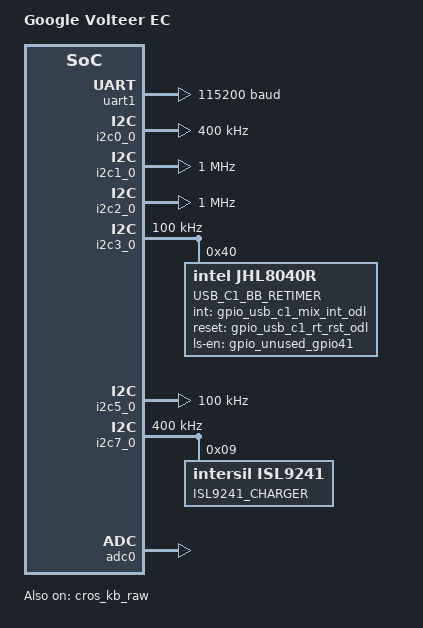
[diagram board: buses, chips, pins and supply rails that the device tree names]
/*
 * Copyright (c) 2020 The Chromium OS Authors
 *
 * SPDX-License-Identifier: Apache-2.0
 */

/dts-v1/;

#include <cros/nuvoton/npcx.dtsi>
#include <dt-bindings/gpio_defines.h>
#include <dt-bindings/charger/intersil_isl9241.h>
#include <nuvoton/npcx7m6fb.dtsi>

/ {
	model = "Google Volteer EC";

	aliases {
		i2c-0 = &i2c0_0;
		i2c-1 = &i2c1_0;
		i2c-2 = &i2c2_0;
		i2c-3 = &i2c3_0;
		i2c-5 = &i2c5_0;
		i2c-7 = &i2c7_0;
	};

	chosen {
		zephyr,sram = &sram0;
		zephyr,console = &uart1;
		zephyr,shell-uart = &uart1;
		zephyr,flash = &flash0;
		cros,rtc = &mtc;
	};

	ec-console {
		compatible = "ec-console";

		disabled = "hostcmd";
	};

	named-batteries {
		compatible = "named-batteries";

		lgc011 {
			enum-name = "lgc011";
		};
	};

	named-i2c-ports {
		compatible = "named-i2c-ports";

		i2c_sensor: sensor {
			i2c-port = <&i2c0_0>;
			label = "SENSOR";
		};
		usb-c0 {
			i2c-port = <&i2c1_0>;
			label = "USB_C0";
		};
		usb-c1 {
			i2c-port = <&i2c2_0>;
			label = "USB_C1";
		};
		usb1-mix {
			i2c-port = <&i2c3_0>;
			label = "USB_1_MIX";
		};
		power {
			i2c-port = <&i2c5_0>;
			label = "POWER";
		};
		eeprom {
			i2c-port = <&i2c7_0>;
			label = "EEPROM";
		};
	};

	named-adc-channels {
		compatible = "named-adc-channels";

		adc_charger: charger {
			label = "ADC_TEMP_SENSOR_CHARGER";
			channel = <0>;
		};
		adc_pp3300_regulator: pp3300_regulator {
			label = "ADC_TEMP_SENSOR_PP3300_REGULATOR";
			channel = <1>;
		};
		adc_ddr_soc: ddr_soc {
			label = "ADC_TEMP_SENSOR_DDR_SOC";
			channel = <8>;
		};
		adc_fan: fan {
			label = "ADC_TEMP_SENSOR_FAN";
			channel = <3>;
		};
	};

	named-temp-sensors {
		charger {
			compatible = "temp-3v3-30k9-47k-4050b";
			label = "TEMP_SENSOR_CHARGER";
			temp_fan_off = <40>;
			temp_fan_max = <55>;
			temp_host_high = <75>;
			temp_host_halt = <80>;
			temp_host_release_high = <65>;
			adc = <&adc_charger>;
		};
		pp3300_regulator {
			compatible = "temp-3v3-30k9-47k-4050b";
			label = "TEMP_SENSOR_PP3300_REGULATOR";
			temp_fan_off = <40>;
			temp_fan_max = <55>;
			temp_host_high = <75>;
			temp_host_halt = <80>;
			temp_host_release_high = <65>;
			adc = <&adc_pp3300_regulator>;
		};
		ddr_soc {
			compatible = "temp-3v3-30k9-47k-4050b";
			label = "TEMP_SENSOR_DDR_SOC";
			temp_fan_off = <35>;
			temp_fan_max = <50>;
			temp_host_high = <70>;
			temp_host_halt = <80>;
			temp_host_release_high = <65>;
			adc = <&adc_ddr_soc>;
		};
		fan {
			compatible = "temp-3v3-30k9-47k-4050b";
			label = "TEMP_SENSOR_FAN";
			temp_fan_off = <35>;
			temp_fan_max = <50>;
			temp_host_high = <70>;
			temp_host_halt = <80>;
			temp_host_release_high = <65>;
			adc = <&adc_fan>;
		};
	};

	soc {
		cros_kb_raw: cros-kb-raw@400a3000 {
			compatible = "nuvoton,npcx-cros-kb-raw";
			reg = <0x400a3000 0x2000>;
			label = "CROS_KB_RAW_0";
			interrupts = <49 0>;
			clocks = <&pcc NPCX_CLOCK_BUS_APB1 NPCX_PWDWN_CTL1 0>;
			/* No KSO2 (it's inverted and implemented by GPIO.) */
			pinctrl-0 = <&alt7_no_ksi0_sl /* KSI0 PIN31 */
				     &alt7_no_ksi1_sl /* KSI1 PIN30 */
				     &alt7_no_ksi2_sl /* KSI2 PIN27 */
				     &alt7_no_ksi3_sl /* KSI3 PIN26 */
				     &alt7_no_ksi4_sl /* KSI4 PIN25 */
				     &alt7_no_ksi5_sl /* KSI5 PIN24 */
				     &alt7_no_ksi6_sl /* KSI6 PIN23 */
				     &alt7_no_ksi7_sl /* KSI7 PIN22 */
				     &alt8_no_kso00_sl /* KSO00 PIN21 */
				     &alt8_no_kso01_sl /* KSO01 PIN20 */
				     &alt8_no_kso03_sl /* KSO03 PIN16 */
				     &alt8_no_kso04_sl /* KSO04 PIN15 */
				     &alt8_no_kso05_sl /* KSO05 PIN14 */
				     &alt8_no_kso06_sl /* KSO06 PIN13 */
				     &alt8_no_kso07_sl /* KSO07 PIN12 */
				     &alt9_no_kso08_sl /* KSO08 PIN11 */
				     &alt9_no_kso09_sl /* KSO09 PIN10 */
				     &alt9_no_kso10_sl /* KSO10 PIN07 */
				     &alt9_no_kso11_sl /* KSO11 PIN06 */
				     &alt9_no_kso12_sl /* KSO12 PIN05 */
				     &alt9_no_kso13_sl /* KSO13 PIN04 */
				     &alt9_no_kso14_sl /* KSO14 PIN82 */
				     >;
			wui_maps = <&wui_io31 &wui_io30 &wui_io27 &wui_io26
				    &wui_io25 &wui_io24 &wui_io23 &wui_io22>;
			status = "disabled";
		};

		fiu0: cros-flash@40020000 {
			compatible = "nuvoton,npcx-cros-flash";
			reg = <0x40020000 0x2000>;
			clocks = <&pcc NPCX_CLOCK_BUS_APB3 NPCX_PWDWN_CTL1 2>;
			size = <0x80000>;
			label = "FLASH_INTERFACE_UNIT0";
			pinctrl-0 = <>;
		};
	};

	/*
	 * The NPCX loader copies our image from ROM to code RAM, so the flash
	 * node actually represents the code RAM location and size.
	 * Override the code RAM for the NPCX797FC.
	 */
	/delete-node/ flash@10090000;
	flash0: flash@10070000 {
		reg = <0x10070000 0x40000>;
	};
};

&uart1 {
	status = "okay";
	current-speed = <115200>;
	pinctrl-0 = <&altc_uart1_sl2>; /* Use UART1_SL2 ie. PIN64.65 */
};

&i2c0_0 {
	status = "okay";
	clock-frequency = <I2C_BITRATE_FAST>;
};

&i2c1_0 {
	status = "okay";
	clock-frequency = <I2C_BITRATE_FAST_PLUS>;
};

&i2c2_0 {
	status = "okay";
	clock-frequency = <I2C_BITRATE_FAST_PLUS>;
};

&i2c3_0 {
	status = "okay";
	clock-frequency = <I2C_BITRATE_STANDARD>;

	usb_c1_bb_retimer: jhl8040r@40 {
		compatible = "intel,jhl8040r";
		reg = <0x40>;
		label = "USB_C1_BB_RETIMER";
		int-gpios = <&gpio_usb_c1_mix_int_odl>;
		reset-gpios = <&gpio_usb_c1_rt_rst_odl>;
		ls-en-gpios = <&gpio_unused_gpio41>;
	};
};

&i2c5_0 {
	status = "okay";
	clock-frequency = <I2C_BITRATE_STANDARD>;
};

&i2c7_0 {
	status = "okay";
	clock-frequency = <I2C_BITRATE_FAST>;

	isl9241: isl9241@9 {
		compatible = "intersil,isl9241";
		reg = <0x09>;
		label = "ISL9241_CHARGER";
		switching-frequency = <SWITCHING_FREQ_724KHZ>;
	};
};

&cros_kb_raw {
	status = "okay";
};

&adc0 {
	status = "okay";
};
